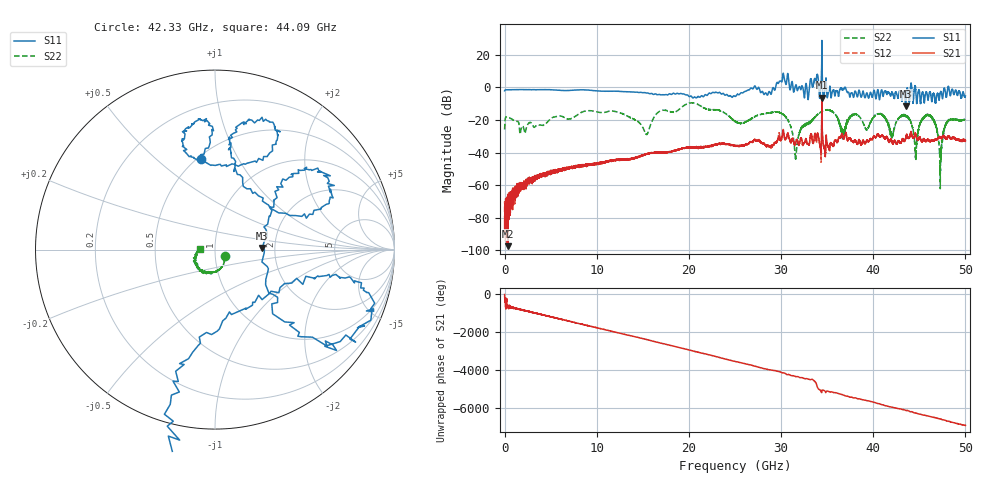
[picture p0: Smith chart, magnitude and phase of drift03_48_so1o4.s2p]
!Created with skrf (http://scikit-rf.org).
# Hz S RI R 50.0
!freq ReS11 ImS11 ReS21 ImS21 ReS12 ImS12 ReS22 ImS22
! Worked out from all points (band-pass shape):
!   10000 points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, 5.3 MHz to 50 GHz, reference 50 ohm
!   highest |S21| = -6.30 dB at 34.43 GHz (marker M1); lowest = -97.5 dB at 395.3 MHz (marker M2)
!   |S21| within 3 dB of the highest: 34.42757 GHz to 34.43514 GHz (7.57 MHz wide, 0.022 % of centre)
!   lowest |S11| = -11.6 dB at 43.52 GHz (marker M3), VSWR 1.72, Z = 85.7 + j1.63 ohm
!   |S11| at or under -10 dB: 43.48688 GHz to 43.54035 GHz (53.46 MHz wide, 0.123 % of centre)
!   |S22| runs from -62.2 to -9.4 dB; largest |S21 - S12| = 0.14
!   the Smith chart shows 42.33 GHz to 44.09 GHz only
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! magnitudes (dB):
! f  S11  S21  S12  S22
! 5.3 MHz  -2.1  -86.5  -76.5  -25.8
! 395.3 MHz  -1.4  -97.5  -84.0  -18.3
! 2.97 GHz  -1.4  -58.3  -56.8  -22.2
! 8.34 GHz  -1.5  -48.5  -48.1  -15.3
! 12.47 GHz  -2.4  -44.3  -44.5  -15.5
! 15.39 GHz  -3.5  -41.1  -41.0  -28.9
! 16.67 GHz  -4.4  -39.8  -40.0  -15.3
! 20.47 GHz  -6.5  -36.8  -37.0  -9.5
! 25.01 GHz  -5.5  -35.7  -35.9  -21.0
! 29.95 GHz  3.9  -32.7  -32.0  -15.6
! 31.59 GHz  1.4  -33.6  -34.0  -44.0
! 33.34 GHz  2.5  -30.1  -30.5  -20.6
! 34.43 GHz  28.9  -6.3  -8.2  -14.5
! 36.7 GHz  -1.4  -30.2  -29.8  -28.9
! 37.96 GHz  -3.7  -32.9  -32.5  -16.3
! 41.67 GHz  -3.0  -33.3  -33.3  -23.5
! 43.52 GHz  -11.6  -31.5  -31.7  -18.0
! 44.61 GHz  -1.4  -29.1  -29.2  -41.4
! 46.25 GHz  -4.6  -32.8  -32.8  -17.4
! 47.29 GHz  -3.0  -31.0  -31.0  -50.3
! 48.09 GHz  -0.5  -30.7  -30.5  -20.8
! 50 GHz  -5.3  -33.1  -32.8  -19.7
